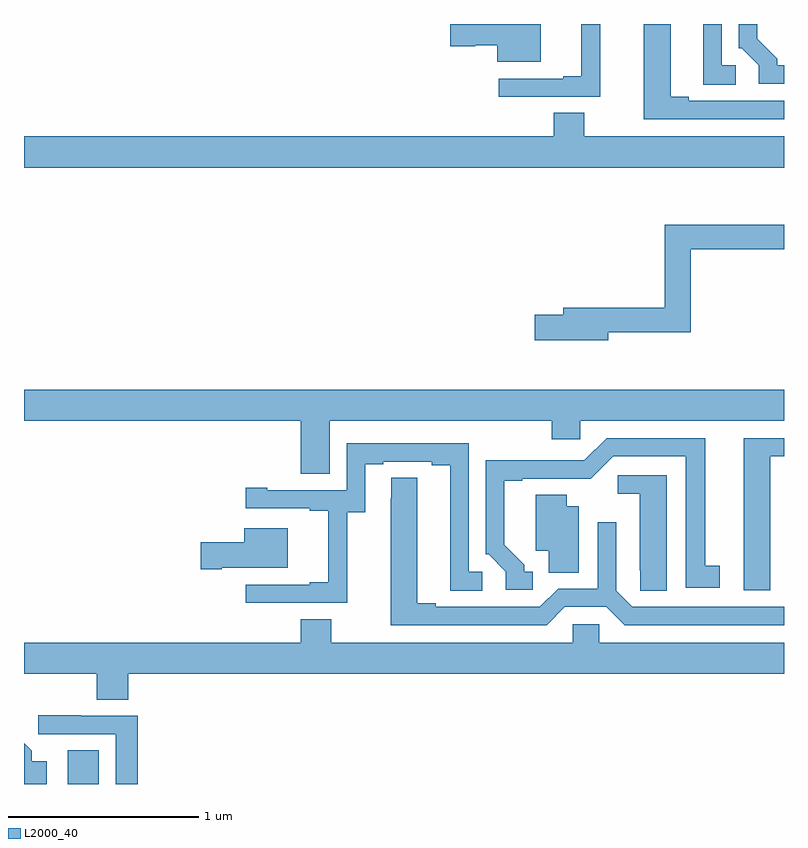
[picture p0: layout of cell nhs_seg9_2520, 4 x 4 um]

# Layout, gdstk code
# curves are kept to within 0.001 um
import gdstk
lib = gdstk.Library(unit=1e-6, precision=1e-09)
def R(c, l, rs):  # rectangles x0, y0, x1, y1
    for r in rs: c.add(gdstk.rectangle(r[:2], r[2:], *l))
def P(c, l, *ps):  # polygons
    for p in ps: c.add(gdstk.Polygon(p, *l))
L2000_40 = (2000, 40)

nhs_seg9_2520 = lib.new_cell('nhs_seg9_2520')
R(nhs_seg9_2520, L2000_40, [(255.23,1202.5,255.394,1202.678)])
P(nhs_seg9_2520, L2000_40, [(257.719,1206.5),(257.244,1206.5),(257.244,1206.382),(257.376,1206.382),(257.376,1206.389),(257.492,1206.389),(257.492,1206.302),(257.719,1206.302)],
  [(258.033,1206.5),(257.933,1206.5),(257.933,1206.226),(257.837,1206.226),(257.837,1206.213),(257.499,1206.213),(257.499,1206.117),(258.033,1206.117)],
  [(258.745,1206.282),(258.672,1206.282),(258.672,1206.5),(258.575,1206.5),(258.575,1206.181),(258.745,1206.181)],
  [(259,1206.282),(258.964,1206.282),(258.964,1206.317),(258.859,1206.422),(258.859,1206.5),(258.762,1206.5),(258.762,1206.372),(258.777,1206.372),(258.867,1206.282),(258.867,1206.186),(259,1206.186)],
  [(259,1206.096),(258.499,1206.096),(258.499,1206.116),(258.403,1206.116),(258.403,1206.5),(258.263,1206.5),(258.263,1206),(259,1206)],
  [(259,1205.908),(257.949,1205.908),(257.949,1206.032),(257.789,1206.032),(257.789,1205.908),(255,1205.908),(255,1205.744),(259,1205.744)],
  [(258.076,1204.878),(258.509,1204.878),(258.509,1205.314),(259,1205.314),(259,1205.443),(258.373,1205.443),(258.373,1205.006),(257.837,1205.006),(257.837,1204.97),(257.688,1204.97),(257.688,1204.835),(258.076,1204.835)],
  [(255,1204.412),(256.457,1204.412),(256.457,1204.132),(256.609,1204.132),(256.609,1204.412),(257.777,1204.412),(257.777,1204.314),(257.928,1204.314),(257.928,1204.412),(259,1204.412),(259,1204.576),(255,1204.576)],
  [(258.928,1204.224),(259,1204.224),(259,1204.32),(258.788,1204.32),(258.788,1203.519),(258.928,1203.519)],
  [(257.677,1203.618),(257.632,1203.618),(257.632,1203.653),(257.527,1203.758),(257.527,1204.095),(257.623,1204.095),(257.623,1204.107),(257.984,1204.106),(258.102,1204.224),(258.482,1204.224),(258.482,1203.534),(258.661,1203.534),(258.661,1203.65),(258.586,1203.65),(258.586,1204.32),(258.066,1204.32),(257.949,1204.203),(257.693,1204.203),(257.693,1204.205),(257.43,1204.205),(257.43,1203.708),(257.445,1203.708),(257.535,1203.618),(257.535,1203.522),(257.677,1203.522)],
  [(256.701,1203.931),(256.795,1203.931),(256.795,1204.182),(256.891,1204.182),(256.891,1204.197),(257.147,1204.197),(257.147,1204.177),(257.243,1204.177),(257.243,1203.517),(257.413,1203.517),(257.413,1203.618),(257.34,1203.618),(257.34,1204.293),(256.698,1204.293),(256.698,1204.047),(256.279,1204.047),(256.279,1204.06),(256.166,1204.06),(256.166,1203.951),(256.505,1203.951),(256.505,1203.939),(256.601,1203.939),(256.601,1203.562),(256.505,1203.562),(256.505,1203.549),(256.166,1203.549),(256.166,1203.453),(256.701,1203.453)],
  [(258.382,1204.125),(258.126,1204.125),(258.126,1204.028),(258.242,1204.028),(258.242,1203.625),(258.243,1203.625),(258.243,1203.517),(258.382,1203.517)],
  [(257.847,1203.432),(258.065,1203.432),(258.161,1203.336),(259,1203.336),(259,1203.432),(258.201,1203.432),(258.117,1203.516),(258.117,1203.877),(258.021,1203.877),(258.021,1203.528),(257.811,1203.528),(257.715,1203.432),(257.167,1203.432),(257.167,1203.452),(257.071,1203.452),(257.071,1204.112),(256.932,1204.112),(256.931,1203.336),(257.751,1203.336)],
  [(257.92,1203.961),(257.857,1203.961),(257.857,1204.022),(257.693,1204.022),(257.693,1203.728),(257.762,1203.728),(257.762,1203.613),(257.92,1203.613)],
  [(256.042,1203.638),(256.387,1203.638),(256.387,1203.847),(256.16,1203.847),(256.16,1203.773),(255.93,1203.773),(255.93,1203.631),(256.042,1203.631)],
  [(255.548,1203.08),(259,1203.08),(259,1203.244),(258.027,1203.244),(258.027,1203.342),(257.889,1203.342),(257.889,1203.244),(256.617,1203.244),(256.617,1203.368),(256.457,1203.368),(256.457,1203.244),(255,1203.244),(255,1203.08),(255.383,1203.08),(255.383,1202.944),(255.548,1202.944)],
  [(255.599,1202.859),(255.299,1202.859),(255.299,1202.862),(255.075,1202.862),(255.075,1202.763),(255.483,1202.763),(255.483,1202.5),(255.599,1202.5)],
  [(255.121,1202.62),(255.04,1202.62),(255.04,1202.675),(255,1202.715),(255,1202.5),(255.121,1202.5)])

lib.write_gds('nhs_seg9_2520.gds')
